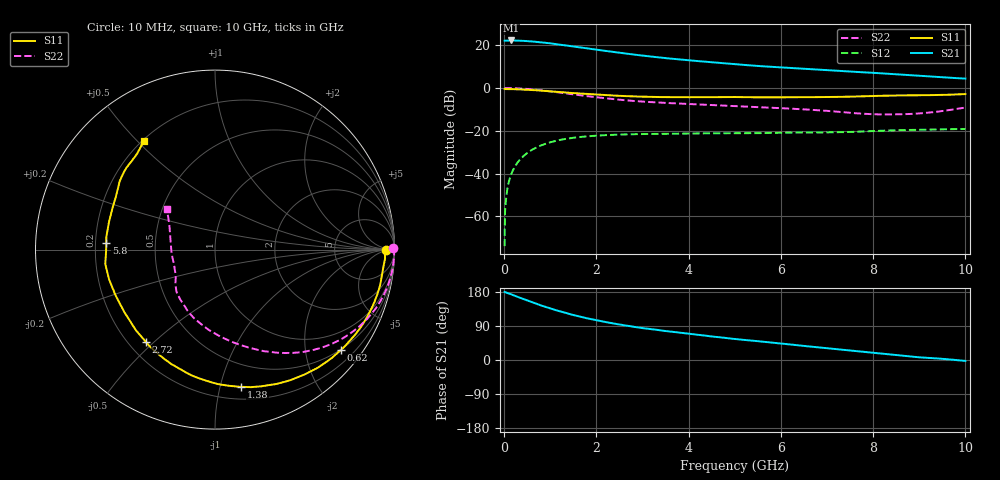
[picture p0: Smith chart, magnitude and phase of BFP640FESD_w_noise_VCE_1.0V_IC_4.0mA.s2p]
! Infineon Technologies  Discrete & RF Semiconductors
! BFP640FESD
! VCE =  1.0 V,  IC =  4.0 mA
! Common Emitter S-Parameters:  Jan 2016
# GHz  S  MA  R  50
!  f  S11  S21  S12  S22
! GHz  MAG  ANG  MAG  ANG  MAG  ANG  MAG  ANG
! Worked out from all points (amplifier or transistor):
!   233 points, 10 MHz to 10 GHz, reference 50 ohm
!   highest |S21| = 22.3 dB at 150 MHz (marker M1)
!   |S21| within 3 dB of that: start of sweep to 1.571 GHz
!   unconditionally stable (mu >= 1): 6.29 GHz to end of sweep
!   at 200 MHz: K = 0.01, MSG = 30.2 dB, |S12| = -38.1 dB
!   at 1.74 GHz: K = 0.25, MSG = 20.7 dB, |S12| = -22.7 dB
!   at 10 GHz: K = 1.30, MAG = 8.5 dB, |S12| = -19.2 dB
!   lowest NFmin = 0.49 dB at 450 MHz
!   S11 on the Smith chart (normalised r, x): 10 MHz: 41, -1; 620 MHz: 0.49, -2.79; 1.38 GHz: 0.30, -1.17; 2.72 GHz: 0.27, -0.47; 5.8 GHz: 0.24, +0.03; 10 GHz: 0.21, +0.52
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0.01  0.9527 -0.1  12.87 179.6  0.0002 125.6  0.9932 0.4
0.015  0.9497 -0.6  12.85 179.5  0.0007 94.4  0.9958 -0.3
0.02  0.9467 -1.2  12.84 179.3  0.0013 89.8  0.9985 -0.9
0.035  0.9476 -2.1  12.85 178.5  0.0022 90.2  0.9985 -1.5
0.15  0.9414 -9.6  12.98 173.3  0.0095 84.8  0.995 -6.3
0.38  0.9266 -23.9  12.76 162.6  0.0233 76.3  0.9709 -15.8
0.62  0.8975 -38.5  12.25 151.6  0.0367 67.8  0.927 -25.2
0.8  0.8728 -48.9  11.72 144.0  0.0455 62.0  0.8865 -31.9
1  0.8402 -60.0  11.1 136.1  0.0539 56.0  0.8362 -38.9
1.2  0.8072 -70.4  10.43 128.6  0.0609 50.5  0.7843 -45.4
1.38  0.7786 -79.1  9.808 122.4  0.0659 46.0  0.7383 -50.9
1.68  0.7373 -92.2  8.85 113.3  0.0723 39.7  0.6698 -59.0
1.92  0.71 -101.4  8.127 106.9  0.0761 35.6  0.6231 -64.9
2.2  0.6824 -111.0  7.385 100.1  0.0792 31.6  0.5762 -71.2
2.72  0.6422 -127.0  6.245 89.4  0.0829 25.6  0.508 -82.1
3.4  0.6147 -143.2  5.141 78.1  0.0848 20.6  0.4549 -92.9
4.5  0.6132 -164.4  4.013 62.1  0.0875 16.2  0.4003 -106.8
5.1  0.614 -173.8  3.545 54.3  0.0877 14.7  0.3739 -114.1
5.8  0.6071 176.3  3.137 45.9  0.0894 14.4  0.3463 -121.8
6.8  0.6129 160.5  2.695 33.5  0.0916 13.1  0.3025 -136.2
8.4  0.6671 139.4  2.132 14.2  0.1024 13.5  0.2417 -172.4
10  0.7223 123.4  1.664 -2.4  0.1101 9.3  0.3492 140.1
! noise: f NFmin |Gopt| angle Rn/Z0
0.45  0.49  0.6  7  0.15
2.4  0.72  0.32  55  0.13
5.5  1.03  0.42  148  0.08
10  1.94  0.53  -123  0.27
